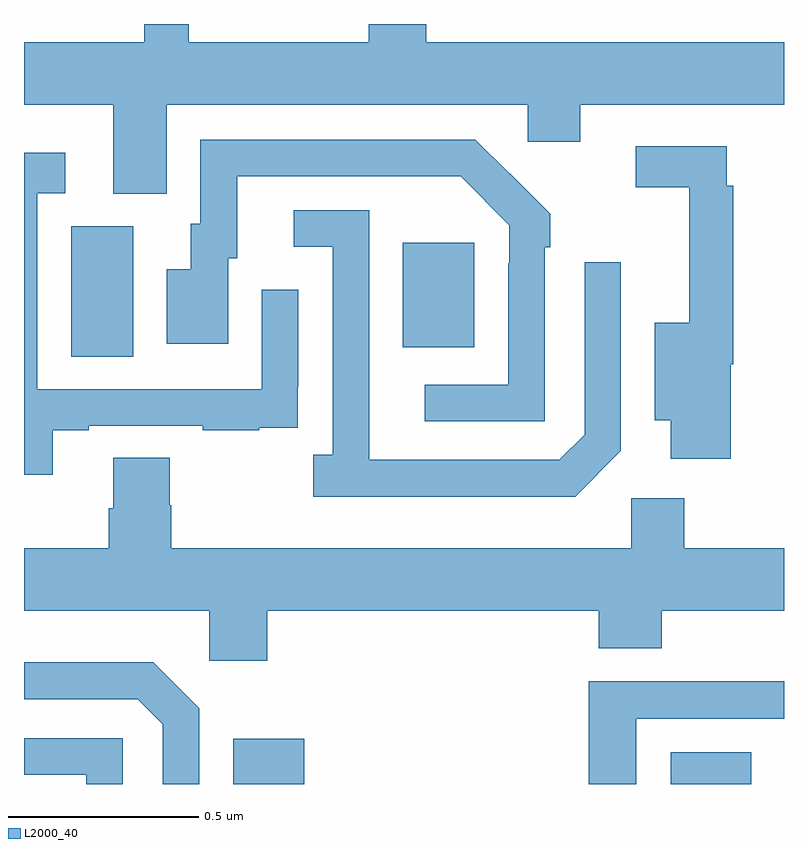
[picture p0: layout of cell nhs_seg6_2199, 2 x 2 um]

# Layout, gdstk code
import gdstk
lib = gdstk.Library(unit=1e-6, precision=1e-09)
def R(c, l, rs):  # rectangles x0, y0, x1, y1
    for r in rs: c.add(gdstk.rectangle(r[:2], r[2:], *l))
def P(c, l, *ps):  # polygons
    for p in ps: c.add(gdstk.Polygon(p, *l))
L2000_40 = (2000, 40)

nhs_seg6_2199 = lib.new_cell('nhs_seg6_2199')
R(nhs_seg6_2199, L2000_40, [(139.55,993.5,139.738,993.619), (140.702,993.5,140.914,993.583), (139.124,994.624,139.288,994.968), (139.997,994.649,140.185,994.924)])
P(nhs_seg6_2199, L2000_40, [(139.375,995.288),(140.325,995.288),(140.325,995.19),(140.464,995.19),(140.464,995.288),(141,995.288),(141,995.452),(140.059,995.452),(140.059,995.5),(139.907,995.5),(139.907,995.452),(139.433,995.452),(139.433,995.5),(139.316,995.5),(139.316,995.452),(139,995.452),(139,995.288),(139.235,995.288),(139.235,995.053),(139.375,995.053)],
  [(140.37,994.913),(140.385,994.913),(140.385,995.001),(140.28,995.106),(140.279,995.105),(140.188,995.196),(139.464,995.196),(139.464,994.974),(139.439,994.974),(139.439,994.855),(139.376,994.855),(139.376,994.659),(139.537,994.659),(139.537,994.884),(139.561,994.884),(139.561,995.1),(140.149,995.1),(140.277,994.971),(140.277,994.871),(140.274,994.871),(140.274,994.551),(140.055,994.551),(140.055,994.455),(140.37,994.455)],
  [(140.86,994.604),(140.867,994.604),(140.867,995.075),(140.849,995.075),(140.849,995.178),(140.61,995.178),(140.61,995.07),(140.75,995.07),(140.75,994.714),(140.66,994.714),(140.66,994.457),(140.702,994.457),(140.702,994.356),(140.86,994.356)],
  [(139.075,994.431),(139.171,994.431),(139.171,994.443),(139.471,994.443),(139.471,994.431),(139.619,994.431),(139.619,994.437),(139.721,994.437),(139.721,994.546),(139.722,994.546),(139.722,994.801),(139.626,994.801),(139.626,994.539),(139.035,994.539),(139.035,995.055),(139.108,995.055),(139.108,995.161),(139,995.161),(139,994.314),(139.075,994.314)],
  [(140.571,994.377),(140.571,994.873),(140.475,994.873),(140.475,994.419),(140.409,994.353),(139.909,994.353),(139.909,994.553),(139.908,994.553),(139.908,995.01),(139.71,995.01),(139.71,994.914),(139.812,994.914),(139.812,994.366),(139.761,994.366),(139.761,994.256),(140.45,994.256)],
  [(139.64,993.956),(140.513,993.956),(140.513,993.857),(140.678,993.857),(140.678,993.956),(141,993.956),(141,994.12),(140.737,994.12),(140.737,994.252),(140.598,994.252),(140.598,994.12),(139.388,994.12),(139.388,994.233),(139.383,994.233),(139.383,994.358),(139.235,994.358),(139.235,994.226),(139.223,994.226),(139.223,994.12),(139,994.12),(139,993.956),(139.488,993.956),(139.488,993.825),(139.64,993.825)],
  [(139.461,993.699),(139.34,993.82),(139,993.82),(139,993.723),(139.299,993.723),(139.365,993.657),(139.365,993.5),(139.461,993.5)],
  [(140.611,993.672),(141,993.672),(141,993.77),(140.486,993.77),(140.486,993.5),(140.611,993.5)],
  [(139.26,993.621),(139,993.621),(139,993.525),(139.164,993.525),(139.164,993.5),(139.26,993.5)])

lib.write_gds('nhs_seg6_2199.gds')
